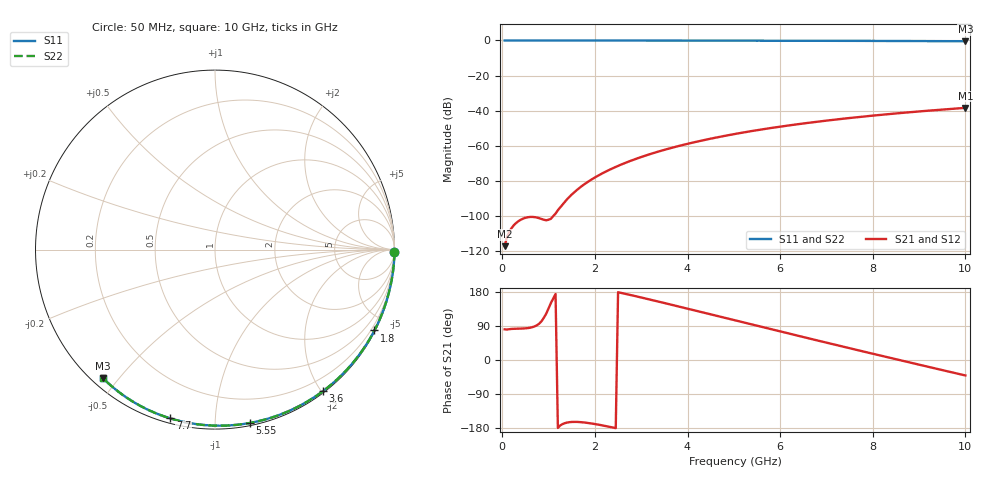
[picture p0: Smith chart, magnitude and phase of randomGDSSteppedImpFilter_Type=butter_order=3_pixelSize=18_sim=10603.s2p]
! freq	dB(S11)	phase(S11)	dB(S12)	phase(S12)
!  dB(S21)	phase(S21)	dB(S22)	phase(S22)
!S-par simulation data
#  GHz  S  DB  R 50
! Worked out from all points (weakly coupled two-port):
!   200 points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, 50 MHz to 10 GHz, reference 50 ohm
!   highest |S21| = -38.42 dB at 10 GHz (marker M1); lowest = -117.3 dB at 50 MHz (marker M2)
!   lowest |S11| = -0.4 dB at 10 GHz (marker M3), VSWR 39.12, Z = 1.54 - j22.7 ohm
!   |S11| at or under -10 dB: nowhere
!   |S22| runs from -0.4 to 0.0 dB; largest |S21 - S12| = 0
!   S11 on the Smith chart (normalised r, x): 50 MHz: open; 1.8 GHz: 0.04, -4.18; 3.6 GHz: 0.02, -2.03; 5.55 GHz: 0.02, -1.22; 7.7 GHz: 0.02, -0.77; 10 GHz: 0.03, -0.45
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0.05  -0.00 -0.8  -117.25 80.9  -117.25 80.9  -0.00 -0.8
0.9  -0.02 -13.6  -102.22 112.1  -102.22 112.1  -0.02 -13.6
1.75  -0.03 -26.1  -82.37 -164.6  -82.37 -164.6  -0.03 -26.1
1.8  -0.03 -26.9  -81.44 -165.3  -81.44 -165.3  -0.03 -26.9
1.85  -0.04 -27.6  -80.55 -166.1  -80.55 -166.1  -0.04 -27.6
1.9  -0.04 -28.3  -79.70 -167.0  -79.70 -167.0  -0.04 -28.3
2.05  -0.04 -30.5  -77.33 -170.0  -77.33 -170.0  -0.04 -30.5
2.25  -0.04 -33.4  -74.53 -174.7  -74.53 -174.7  -0.04 -33.4
2.45  -0.05 -36.3  -72.06 -179.8  -72.06 -179.8  -0.05 -36.3
2.65  -0.05 -39.2  -69.84 174.8  -69.84 174.8  -0.05 -39.2
3  -0.06 -44.2  -66.43 165.0  -66.43 165.0  -0.06 -44.2
3.4  -0.07 -49.8  -63.10 153.3  -63.10 153.3  -0.07 -49.8
3.6  -0.07 -52.6  -61.61 147.4  -61.61 147.4  -0.07 -52.6
4.3  -0.09 -62.1  -57.10 126.5  -57.10 126.5  -0.09 -62.1
5.05  -0.11 -72.1  -53.17 103.9  -53.17 103.9  -0.11 -72.1
5.55  -0.13 -78.5  -50.93 88.9  -50.93 88.9  -0.13 -78.5
6.1  -0.15 -85.5  -48.75 72.5  -48.75 72.5  -0.15 -85.5
6.7  -0.18 -92.9  -46.65 54.6  -46.65 54.6  -0.18 -92.9
7.7  -0.24 -104.8  -43.64 25.2  -43.64 25.2  -0.24 -104.8
8.35  -0.29 -112.4  -41.96 6.4  -41.96 6.4  -0.29 -112.4
9.15  -0.36 -121.6  -40.13 -16.6  -40.13 -16.6  -0.36 -121.6
10  -0.44 -131.2  -38.42 -40.8  -38.42 -40.8  -0.44 -131.2
